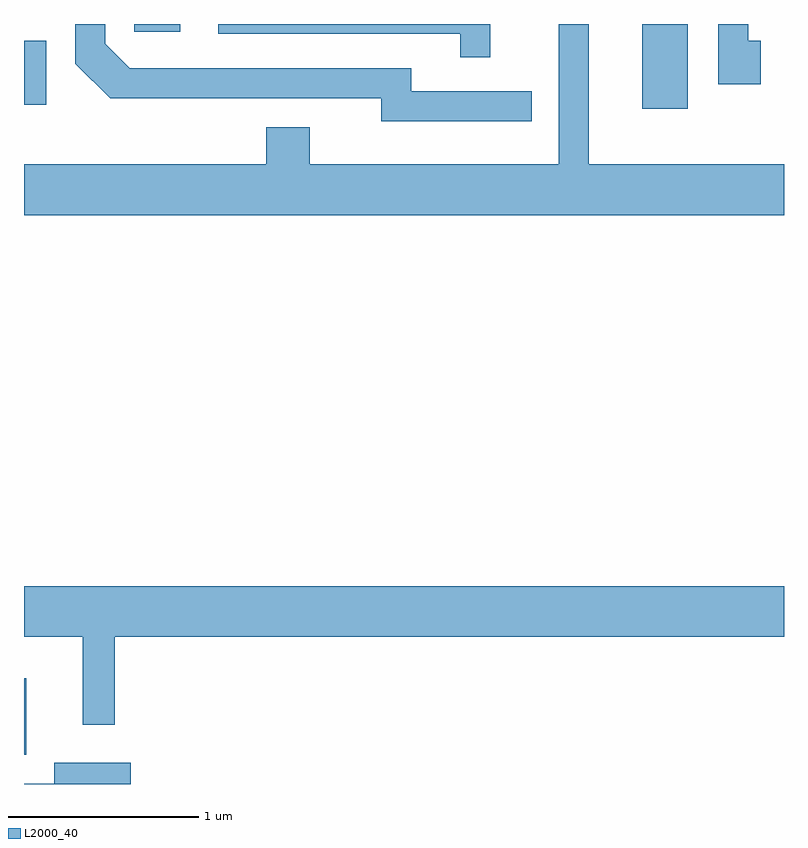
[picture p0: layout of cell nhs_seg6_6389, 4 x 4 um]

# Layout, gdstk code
import gdstk
lib = gdstk.Library(unit=1e-6, precision=1e-09)
def R(c, l, rs):  # rectangles x0, y0, x1, y1
    for r in rs: c.add(gdstk.rectangle(r[:2], r[2:], *l))
def P(c, l, *ps):  # polygons
    for p in ps: c.add(gdstk.Polygon(p, *l))
L2000_40 = (2000, 40)

nhs_seg6_6389 = lib.new_cell('nhs_seg6_6389')
R(nhs_seg6_6389, L2000_40, [(379.611,1538.316,379.624,1538.718), (382.866,1541.716,383.104,1542.162), (379.611,1541.738,379.729,1542.074), (380.191,1542.121,380.433,1542.162)])
P(nhs_seg6_6389, L2000_40, [(383.611,1541.424),(382.584,1541.424),(382.584,1542.162),(382.426,1542.162),(382.426,1541.424),(381.114,1541.424),(381.114,1541.619),(380.886,1541.619),(380.886,1541.424),(379.611,1541.424),(379.611,1541.156),(383.611,1541.156)],
  [(382.283,1541.809),(381.649,1541.809),(381.649,1541.929),(380.167,1541.929),(380.039,1542.057),(380.039,1542.162),(379.881,1542.162),(379.881,1541.954),(380.064,1541.771),(381.491,1541.771),(381.491,1541.651),(382.283,1541.651)],
  [(382.064,1542.162),(380.633,1542.162),(380.633,1542.111),(381.906,1542.111),(381.906,1541.988),(382.064,1541.988)],
  [(383.489,1542.074),(383.424,1542.074),(383.424,1542.162),(383.266,1542.162),(383.266,1541.846),(383.489,1541.846)],
  [(380.089,1538.936),(383.611,1538.936),(383.611,1539.204),(379.611,1539.204),(379.611,1538.936),(379.921,1538.936),(379.921,1538.473),(380.089,1538.473)],
  [(380.174,1538.274),(379.771,1538.274),(379.771,1538.164),(379.611,1538.164),(379.611,1538.162),(380.174,1538.162)])

lib.write_gds('nhs_seg6_6389.gds')
